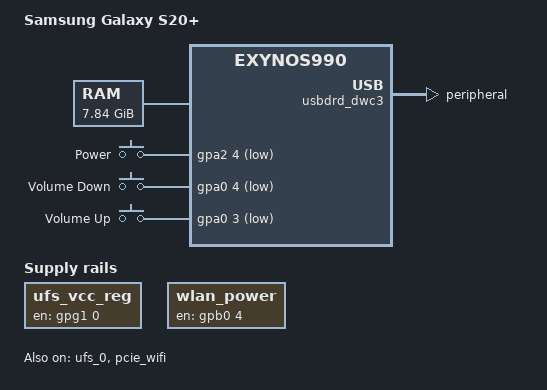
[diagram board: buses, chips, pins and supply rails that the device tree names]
// SPDX-License-Identifier: GPL-2.0 OR BSD-3-Clause
/*
 * Samsung Galaxy S20+ (SM-G985F / y2s / y2slte) device tree source
 * Configured with PCIe BCM4375 Wi-Fi, S2MPU table, 8GB RAM memory map, and USB peripheral
 */

/dts-v1/;
#include "exynos990.dtsi"
#include <dt-bindings/gpio/gpio.h>
#include <dt-bindings/input/input.h>
#include <dt-bindings/interrupt-controller/irq.h>

/ {
	model = "Samsung Galaxy S20+";
	compatible = "samsung,y2s", "samsung,y2slte", "samsung,exynos990";

	#address-cells = <2>;
	#size-cells = <2>;

	chosen {
		#address-cells = <2>;
		#size-cells = <2>;
		ranges;

		bootargs = "console=tty0 console=ttyGS0,115200 root=/dev/ram0 rw init=/init";

		framebuffer0: framebuffer@f1000000 {
			compatible = "simple-framebuffer";
			reg = <0 0xf1000000 0 (1440 * 3200 * 4)>;
			width = <1440>;
			height = <3200>;
			stride = <(1440 * 4)>;
			format = "a8r8g8b8";
		};
	};

	memory@80000000 {
		device_type = "memory";
		reg = <0x00000000 0x80000000 0x00000000 0x3d000000>,
		      <0x00000000 0xc1200000 0x00000000 0x1b700000>,
		      <0x00000000 0xe1900000 0x00000000 0x1e700000>,
		      <0x00000008 0x80000000 0x00000001 0x7ec00000>;
	};

	reserved-memory {
		#address-cells = <2>;
		#size-cells = <2>;
		ranges;

		cont_splash_mem: framebuffer@f1000000 {
			reg = <0 0xf1000000 0 0x1194000>;
			no-map;
		};

		abox_reserved: audio@f7fb0000 {
			reg = <0 0xf7fb0000 0 0x2a50000>;
			no-map;
		};

		/*
		 * Samsung EL2 owns this table and updates it through
		 * HVC_FID_SET_S2MPU_FOR_WIFI. Exposing these pages to the
		 * Linux allocator corrupts PCIe DMA permissions.
		 */
		ramoops@f0000000 {
			compatible = "ramoops";
			reg = <0 0xf0000000 0 0x100000>;
			console-size = <0x80000>;
			record-size = <0x20000>;
			pmsg-size = <0x20000>;
			ecc = <0>;
		};

		s2mpu_table: s2mpu-table@c1800000 {
			compatible = "exynos,s2mpu_table";
			reg = <0 0xc1800000 0 0x300000>;
			no-map;
		};
	};

	s2mpu {
		compatible = "samsung,exynos-s2mpu";
		instance-num = <34>;
		instance-names = "aud", "csis_d0", "csis_d1",
				 "dpu0", "dpu1", "dpu2", "ipp",
				 "tnr_d0", "tnr_d1", "dns",
				 "mcsc_d0", "mcsc_d1",
				 "g2d_d0", "g2d_d1", "g2d_d2",
				 "dnc_d0", "dnc_d1", "dnc_d2",
				 "dnc_d3", "dnc_d4", "vra",
				 "mfc_d0", "mfc_d1",
				 "hsi0", "hsi1", "hsi2",
				 "acvps", "secu", "dit", "sbic",
				 "g3d0", "g3d1", "g3d2", "g3d3";
	};

	gpio-keys {
		compatible = "gpio-keys";
		pinctrl-0 = <&key_power &key_voldown &key_volup>;
		pinctrl-names = "default";

		power-key {
			label = "Power";
			linux,code = <KEY_POWER>;
			gpios = <&gpa2 4 GPIO_ACTIVE_LOW>;
			wakeup-source;
		};
		voldown-key {
			label = "Volume Down";
			linux,code = <KEY_VOLUMEDOWN>;
			gpios = <&gpa0 4 GPIO_ACTIVE_LOW>;
		};
		volup-key {
			label = "Volume Up";
			linux,code = <KEY_VOLUMEUP>;
			gpios = <&gpa0 3 GPIO_ACTIVE_LOW>;
		};
	};

	
	ufs_vcc_reg: regulator-ufs-vcc {
		compatible = "regulator-fixed";
		regulator-name = "ufs-vcc";
		gpio = <&gpg1 0 GPIO_ACTIVE_HIGH>;
		enable-active-high;
		regulator-boot-on;
		regulator-always-on;
	};

	wlan_power: regulator-wlan {
		compatible = "regulator-fixed";
		regulator-name = "wlan-enable";
		gpio = <&gpb0 4 GPIO_ACTIVE_HIGH>;
		enable-active-high;
		regulator-boot-on;
		regulator-always-on;
		pinctrl-names = "default";
		pinctrl-0 = <&cfg_wlanen>;
	};

	pcie_wifi: pcie@133b0000 {
		compatible = "samsung,exynos990-pcie";
		reg = <0x0 0x133b0000 0x0 0x1000>,
		      <0x0 0x133e0000 0x0 0x1000>,
		      <0x0 0x133f0000 0x0 0x1000>,
		      <0x0 0x133d0000 0x0 0x01fc>,
		      <0x0 0x11ffe000 0x0 0x2000>,
		      <0x0 0x13000000 0x0 0x4000>;
		reg-names = "elbi", "phy", "dbi", "pcs", "config", "cmu";
		interrupts = <GIC_SPI 314 IRQ_TYPE_LEVEL_HIGH>;
		interrupt-names = "pcie";
		#interrupt-cells = <1>;
		interrupt-map-mask = <0x0 0x0 0x0 0x0>;
		interrupt-map = <0x0 0x0 0x0 0x0
				 &gic GIC_SPI 314 IRQ_TYPE_LEVEL_HIGH>;
		#address-cells = <3>;
		#size-cells = <2>;
		device_type = "pci";
		linux,pci-domain = <0>;
		bus-range = <0x00 0xff>;
		ranges = <0x82000000 0x0 0x11000000
			  0x0 0x11000000
			  0x0 0x00ff0000>;
		num-lanes = <1>;
		max-link-speed = <1>;
		reset-gpios = <&gpf0 1 GPIO_ACTIVE_LOW>;
		pinctrl-names = "default";
		pinctrl-0 = <&pcie0_clkreq &pcie0_perst>;
		clocks = <&cmu_top CLK_GOUT_CMU_HSI1_PCIE>;
		clock-names = "pcie";
		samsung,sysreg = <&sysreg_hsi1>;
		samsung,pmu = <&pmu_system_controller>;
		vpcie-supply = <&wlan_power>;
		status = "okay";
	};
		/* Real measured hardware clocks for the clusters */
	cpucl0_clk: clock-cpucl0 {
		compatible = "fixed-clock";
		#clock-cells = <0>;
		clock-frequency = <1048000000>;
		clock-output-names = "cpucl0_clk";
	};

	cpucl1_clk: clock-cpucl1 {
		compatible = "fixed-clock";
		#clock-cells = <0>;
		clock-frequency = <1064000000>;
		clock-output-names = "cpucl1_clk";
	};

	cpucl2_clk: clock-cpucl2 {
		compatible = "fixed-clock";
		#clock-cells = <0>;
		clock-frequency = <1063000000>;
		clock-output-names = "cpucl2_clk";
	};

	arm-m5-pmu {
		compatible = "arm,armv8-pmuv3";
		interrupts = <GIC_SPI 169 IRQ_TYPE_LEVEL_HIGH>,
			     <GIC_SPI 170 IRQ_TYPE_LEVEL_HIGH>;
		interrupt-affinity = <&cpu6>, <&cpu7>;
	};



	/* Honest single-OPP tables matching real hardware baseline */
	cpu0_opp_table: opp-table-0 {
		compatible = "operating-points-v2";
		opp-shared;

		opp-1048000000 {
			opp-hz = /bits/ 64 <1048000000>;
			opp-microvolt = <662500>;
			opp-microwatt = <65000>;
		};
	};

	cpu4_opp_table: opp-table-1 {
		compatible = "operating-points-v2";
		opp-shared;

		opp-1064000000 {
			opp-hz = /bits/ 64 <1064000000>;
			opp-microvolt = <725000>;
			opp-microwatt = <240000>;
		};
	};

	cpu6_opp_table: opp-table-2 {
		compatible = "operating-points-v2";
		opp-shared;

		opp-1063000000 {
			opp-hz = /bits/ 64 <1063000000>;
			opp-microvolt = <800000>;
			opp-microwatt = <750000>;
		};
	};

};

&oscclk {
	clock-frequency = <26000000>;
};

&pinctrl_alive {
	key_power: key-power-pins {
		samsung,pins = "gpa2-4";
		samsung,pin-function = <EXYNOS_PIN_FUNC_EINT>;
		samsung,pin-pud = <EXYNOS_PIN_PULL_NONE>;
		samsung,pin-drv = <EXYNOS5420_PIN_DRV_LV1>;
	};
	key_voldown: key-voldown-pins {
		samsung,pins = "gpa0-4";
		samsung,pin-function = <EXYNOS_PIN_FUNC_EINT>;
		samsung,pin-pud = <EXYNOS_PIN_PULL_NONE>;
		samsung,pin-drv = <EXYNOS5420_PIN_DRV_LV1>;
	};
	key_volup: key-volup-pins {
		samsung,pins = "gpa0-3";
		samsung,pin-function = <EXYNOS_PIN_FUNC_EINT>;
		samsung,pin-pud = <EXYNOS_PIN_PULL_NONE>;
		samsung,pin-drv = <EXYNOS5420_PIN_DRV_LV1>;
	};
};

&usbdrd_dwc3 {
	dr_mode = "peripheral";
	maximum-speed = "high-speed";
	snps,dis_u2_susphy_quirk;
	snps,dis_enblslpm_quirk;
};

&mmc_2 {
	status = "disabled";
};

&cmu_aud {
	status = "disabled";
};

&pd_aud {
	status = "disabled";
};

&ufs_0 {
	vcc-supply = <&ufs_vcc_reg>;
	status = "okay";
};

&acpm_ipc {
	status = "okay";
};


&cpu0 {
	capacity-dmips-mhz = <242>;
	clocks = <&cpucl0_clk>;
	operating-points-v2 = <&cpu0_opp_table>;
	dynamic-power-coefficient = <140>;
};

&cpu1 {
	capacity-dmips-mhz = <242>;
	clocks = <&cpucl0_clk>;
	operating-points-v2 = <&cpu0_opp_table>;
	dynamic-power-coefficient = <140>;
};

&cpu2 {
	capacity-dmips-mhz = <242>;
	clocks = <&cpucl0_clk>;
	operating-points-v2 = <&cpu0_opp_table>;
	dynamic-power-coefficient = <140>;
};

&cpu3 {
	capacity-dmips-mhz = <242>;
	clocks = <&cpucl0_clk>;
	operating-points-v2 = <&cpu0_opp_table>;
	dynamic-power-coefficient = <140>;
};

&cpu4 {
	capacity-dmips-mhz = <749>;
	clocks = <&cpucl1_clk>;
	operating-points-v2 = <&cpu4_opp_table>;
	dynamic-power-coefficient = <500>;
};

&cpu5 {
	capacity-dmips-mhz = <749>;
	clocks = <&cpucl1_clk>;
	operating-points-v2 = <&cpu4_opp_table>;
	dynamic-power-coefficient = <500>;
};

&cpu6 {
	capacity-dmips-mhz = <1024>;
	clocks = <&cpucl2_clk>;
	operating-points-v2 = <&cpu6_opp_table>;
	dynamic-power-coefficient = <1500>;
};

&cpu7 {
	capacity-dmips-mhz = <1024>;
	clocks = <&cpucl2_clk>;
	operating-points-v2 = <&cpu6_opp_table>;
	dynamic-power-coefficient = <1500>;
};
